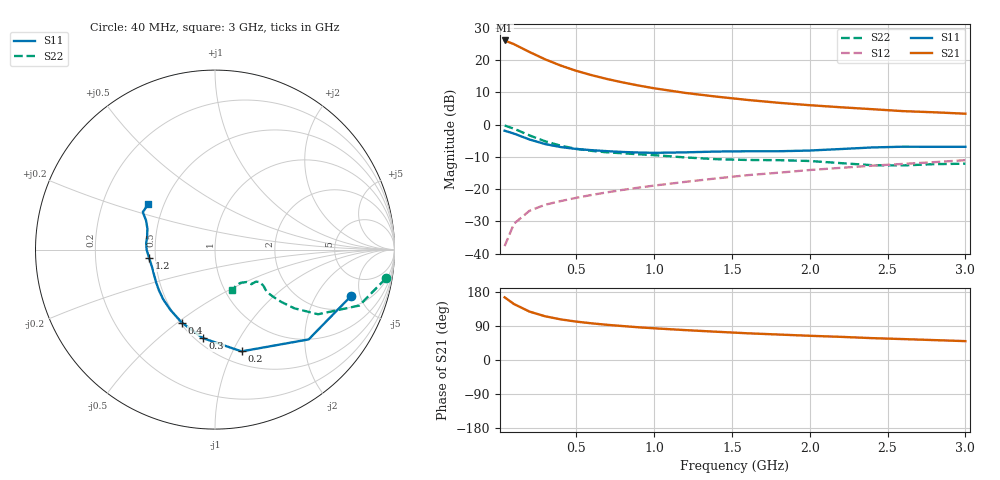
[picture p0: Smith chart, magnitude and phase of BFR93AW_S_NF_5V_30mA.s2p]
! Filename:  BFR93AWD.S2P  Version:  4.0
! Philips part #: BFR93AW  Date: Jun 1994
! Bias condition: Vce=5V, Ic=30mA
#  MHz  S  MA  R  50
! Freq  S11  S21  S12  S22  !GUM [dB]
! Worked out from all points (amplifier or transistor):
!   21 points, 40 MHz to 3 GHz, reference 50 ohm
!   highest |S21| = 26.1 dB at 40 MHz (marker M1)
!   |S21| within 3 dB of that: start of sweep to 176.4 MHz
!   unconditionally stable (mu >= 1): 932.2 MHz to end of sweep
!   at 300 MHz: K = 0.58, MSG = 22.6 dB, |S12| = -24.9 dB
!   at 1 GHz: K = 1.02, MAG = 14.2 dB, |S12| = -18.9 dB
!   at 3 GHz: K = 1.03, MAG = 6.2 dB, |S12| = -11.1 dB
!   lowest NFmin = 2.10 dB at 500 MHz
!   S11 on the Smith chart (normalised r, x): 40 MHz: 2.88, -4.15; 200 MHz: 0.63, -1.08; 300 MHz: 0.54, -0.71; 400 MHz: 0.51, -0.52; 1.2 GHz: 0.46, -0.05; 3 GHz: 0.41, +0.26
40  0.802 -18.7  20.1 165.4  0.013 80.4  0.965 -9.6
100  0.723 -43.8  17.62 147.7  0.029 69.4  0.862 -21.2
200  0.586 -75.4  13.32 127.7  0.046 59.6  0.678 -32.1
300  0.498 -97.7  10.26 115.4  0.057 56.0  0.55 -36.5
400  0.447 -114.4  8.211 107.2  0.065 55.9  0.47 -38.3
500  0.418 -126.4  6.807 101.3  0.073 56.8  0.42 -39.0
600  0.4 -136.2  5.817 96.7  0.081 58.4  0.39 -39.2
700  0.386 -144.1  5.066 92.8  0.089 59.9  0.37 -38.9
800  0.375 -151.1  4.487 89.5  0.097 61.2  0.358 -38.4
900  0.368 -157.2  4.025 86.3  0.105 62.4  0.346 -37.4
1000  0.364 -163.0  3.648 83.7  0.113 63.5  0.335 -36.7
1200  0.37 -172.8  3.092 78.9  0.129 65.2  0.309 -35.9
1400  0.381 -179.9  2.708 74.6  0.146 66.5  0.29 -38.0
1600  0.385 174.7  2.406 70.5  0.164 66.9  0.282 -41.8
1800  0.385 169.1  2.173 67.2  0.179 67.8  0.28 -43.5
2000  0.395 162.5  1.993 63.9  0.197 68.5  0.272 -43.9
2200  0.417 157.1  1.851 61.1  0.213 69.0  0.252 -45.8
2400  0.441 154.0  1.729 57.7  0.23 69.2  0.234 -52.0
2600  0.453 152.5  1.612 55.2  0.245 68.9  0.232 -60.1
2800  0.451 149.7  1.547 52.5  0.261 69.2  0.243 -64.9
3000  0.451 145.5  1.471 49.8  0.28 69.1  0.247 -67.3
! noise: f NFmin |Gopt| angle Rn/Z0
500  2.1  0.124  134.7  0.22
1000  2.6  0.233  163.9  0.25
2000  3.4  0.606  -149.3  0.18
